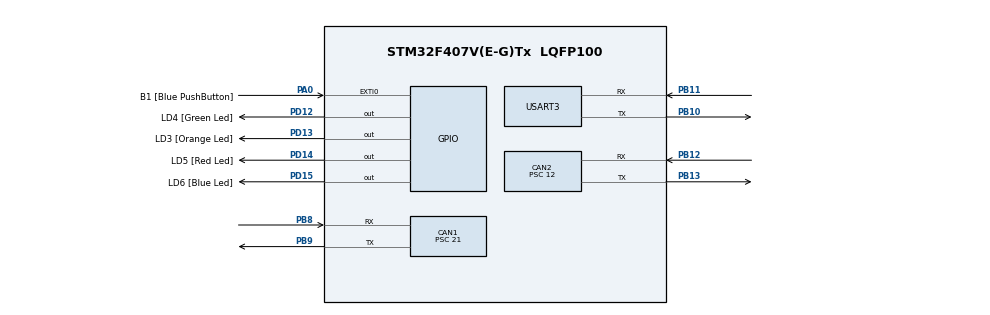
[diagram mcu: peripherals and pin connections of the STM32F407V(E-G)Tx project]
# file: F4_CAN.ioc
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CAN1.ABOM=ENABLE
CAN1.BS1=CAN_BS1_13TQ
CAN1.BS2=CAN_BS2_2TQ
CAN1.CalculateBaudRate=125000
CAN1.CalculateTimeBit=8000
CAN1.CalculateTimeQuantum=500.0
CAN1.Mode=CAN_MODE_NORMAL
CAN1.Prescaler=21
CAN1.TXFP=ENABLE
CAN2.ABOM=ENABLE
CAN2.BS1=CAN_BS1_11TQ
CAN2.BS2=CAN_BS2_2TQ
CAN2.CalculateBaudRate=250000
CAN2.CalculateTimeBit=4000
CAN2.CalculateTimeQuantum=285.7142857142857
CAN2.Mode=CAN_MODE_SILENT_LOOPBACK
CAN2.Prescaler=12
CAN2.TXFP=ENABLE
Mcu.Family=STM32F4
Mcu.Name=STM32F407V(E-G)Tx
Mcu.Package=LQFP100
NVIC.CAN1_RX0_IRQn=true\:0\:0\:false\:false\:true\:true\:true\:true
NVIC.CAN1_SCE_IRQn=true\:0\:0\:false\:false\:true\:true\:true\:true
NVIC.CAN2_RX0_IRQn=true\:0\:0\:false\:false\:true\:true\:true\:true
NVIC.CAN2_SCE_IRQn=true\:0\:0\:false\:false\:true\:true\:true\:true
NVIC.PriorityGroup=NVIC_PRIORITYGROUP_4
NVIC.TIM8_TRG_COM_TIM14_IRQn=true\:15\:0\:false\:false\:true\:false\:true\:true
NVIC.TimeBase=TIM8_TRG_COM_TIM14_IRQn
NVIC.TimeBaseIP=TIM14
PA0-WKUP.GPIO_Label=B1 [Blue PushButton]
PA0-WKUP.Signal=GPXTI0
PA13.GPIO_Label=SWDIO
PA13.Mode=Serial_Wire
PA13.Signal=SYS_JTMS-SWDIO
PA14.GPIO_Label=SWCLK
PA14.Mode=Serial_Wire
PA14.Signal=SYS_JTCK-SWCLK
PB10.Mode=Asynchronous
PB10.Signal=USART3_TX
PB11.Mode=Asynchronous
PB11.Signal=USART3_RX
PB12.Mode=CAN_Activate
PB12.Signal=CAN2_RX
PB13.Mode=CAN_Activate
PB13.Signal=CAN2_TX
PB8.Mode=CAN_Activate
PB8.Signal=CAN1_RX
PB9.Mode=CAN_Activate
PB9.Signal=CAN1_TX
PD12.GPIO_Label=LD4 [Green Led]
PD12.GPIO_PuPd=GPIO_NOPULL
PD12.GPIO_Speed=GPIO_SPEED_FREQ_LOW
PD12.Signal=GPIO_Output
PD13.GPIO_Label=LD3 [Orange Led]
PD13.GPIO_PuPd=GPIO_NOPULL
PD13.GPIO_Speed=GPIO_SPEED_FREQ_LOW
PD13.Signal=GPIO_Output
PD14.GPIO_Label=LD5 [Red Led]
PD14.GPIO_PuPd=GPIO_NOPULL
PD14.GPIO_Speed=GPIO_SPEED_FREQ_LOW
PD14.Signal=GPIO_Output
PD15.GPIO_Label=LD6 [Blue Led]
PD15.GPIO_PuPd=GPIO_NOPULL
PD15.GPIO_Speed=GPIO_SPEED_FREQ_LOW
PD15.Signal=GPIO_Output
PH0-OSC_IN.GPIO_Label=PH0-OSC_IN
PH0-OSC_IN.Mode=HSE-External-Oscillator
PH0-OSC_IN.Signal=RCC_OSC_IN
PH1-OSC_OUT.GPIO_Label=PH1-OSC_OUT
PH1-OSC_OUT.Mode=HSE-External-Oscillator
PH1-OSC_OUT.Signal=RCC_OSC_OUT
ProjectManager.HeapSize=0x300
ProjectManager.StackSize=0x500
ProjectManager.TargetToolchain=MDK-ARM V5
RCC.48MHZClocksFreq_Value=48000000
RCC.AHBFreq_Value=84000000
RCC.APB1CLKDivider=RCC_HCLK_DIV2
RCC.APB1Freq_Value=42000000
RCC.APB1TimFreq_Value=84000000
RCC.APB2Freq_Value=84000000
RCC.APB2TimFreq_Value=84000000
RCC.CortexFreq_Value=84000000
RCC.HCLKFreq_Value=84000000
RCC.HSE_VALUE=8000000
RCC.HSI_VALUE=16000000
RCC.LSE_VALUE=32768
RCC.PLLM=8
RCC.PLLN=336
RCC.PLLP=RCC_PLLP_DIV4
RCC.PLLQ=7
RCC.PLLSourceVirtual=RCC_PLLSOURCE_HSE
RCC.SYSCLKFreq_VALUE=84000000
RCC.SYSCLKSource=RCC_SYSCLKSOURCE_PLLCLK
RCC.VCOOutputFreq_Value=336000000
USART3.VirtualMode=VM_ASYNC
VP_SYS_VS_tim14.Mode=TIM14
VP_TIM13_VS_ClockSourceINT.Mode=Enable_Timer
board=STM32F407G-DISC1

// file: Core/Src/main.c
/* USER CODE BEGIN Header */
/**
  ******************************************************************************
  * @file           : main.c
  * @brief          : Main program body
  ******************************************************************************
  * @attention
  *
  * Copyright (c) 2023 STMicroelectronics.
  * All rights reserved.
  *
  * This software is licensed under terms that can be found in the LICENSE file
  * in the root directory of this software component.
  * If no LICENSE file comes with this software, it is provided AS-IS.
  *
  ******************************************************************************
  */
/* USER CODE END Header */
#include "main.h"
#include "can.h"
#include "tim.h"
#include "usart.h"
#include "gpio.h"

/* USER CODE BEGIN Includes */
#include "lib_delay.h"
#include "string.h"
#include "stdio.h"
#include "can.h"
/* USER CODE END Includes */

/* USER CODE BEGIN PV */
LL_RCC_ClocksTypeDef cpu_clock;
uint8_t Tx_buffer [] = {0xC, 0xA, 0xF, 0xE, 0xD, 0xE, 0xA, 0xD};
/* USER CODE END PV */

void SystemClock_Config(void);

int main(void)
{

  /* MCU Configuration--------------------------------------------------------*/

  /* Reset of all peripherals, Initializes the Flash interface and the Systick. */
  HAL_Init();

  /* Configure the system clock */
  SystemClock_Config();

  /* Initialize all configured peripherals */
  MX_GPIO_Init();
  MX_CAN1_Init();
  MX_USART3_UART_Init();
  MX_TIM13_Init();
  MX_CAN2_Init();
  /* USER CODE BEGIN 2 */
	LED_ORANGE(0);
	LED_BLUE(1);
	UART3_PutString("start\r\n");

  /* USER CODE END 2 */

  /* Infinite loop */
  /* USER CODE BEGIN WHILE */
  while (1)
  {

		delay_ms (1500);
		TOOGLE_LED_BLUE;
		TOOGLE_LED_ORANGE;
		CAN1_Send_C1 ();

		delay_ms (1500);
		TOOGLE_LED_BLUE;
		TOOGLE_LED_ORANGE;
    /* USER CODE END WHILE */

  }
}

void SystemClock_Config(void)
{
  LL_FLASH_SetLatency(LL_FLASH_LATENCY_2);
  while(LL_FLASH_GetLatency()!= LL_FLASH_LATENCY_2)
  {
  }
  LL_PWR_SetRegulVoltageScaling(LL_PWR_REGU_VOLTAGE_SCALE1);
  LL_RCC_HSE_Enable();

   /* Wait till HSE is ready */
  while(LL_RCC_HSE_IsReady() != 1)
  {

  }
  LL_RCC_PLL_ConfigDomain_SYS(LL_RCC_PLLSOURCE_HSE, LL_RCC_PLLM_DIV_8, 336, LL_RCC_PLLP_DIV_4);
  LL_RCC_PLL_Enable();

   /* Wait till PLL is ready */
  while(LL_RCC_PLL_IsReady() != 1)
  {

  }
  LL_RCC_SetAHBPrescaler(LL_RCC_SYSCLK_DIV_1);
  LL_RCC_SetAPB1Prescaler(LL_RCC_APB1_DIV_2);
  LL_RCC_SetAPB2Prescaler(LL_RCC_APB2_DIV_1);
  LL_RCC_SetSysClkSource(LL_RCC_SYS_CLKSOURCE_PLL);

   /* Wait till System clock is ready */
  while(LL_RCC_GetSysClkSource() != LL_RCC_SYS_CLKSOURCE_STATUS_PLL)
  {

  }
  LL_SetSystemCoreClock(84000000);

   /* Update the time base */
  if (HAL_InitTick (TICK_INT_PRIORITY) != HAL_OK)
  {
    Error_Handler();
  }
}

void HAL_TIM_PeriodElapsedCallback(TIM_HandleTypeDef *htim)
{
  if (htim->Instance == TIM14) {
    HAL_IncTick();
  }
}

void Error_Handler(void)
{
  __disable_irq();
  while (1)
  {
  }
}
